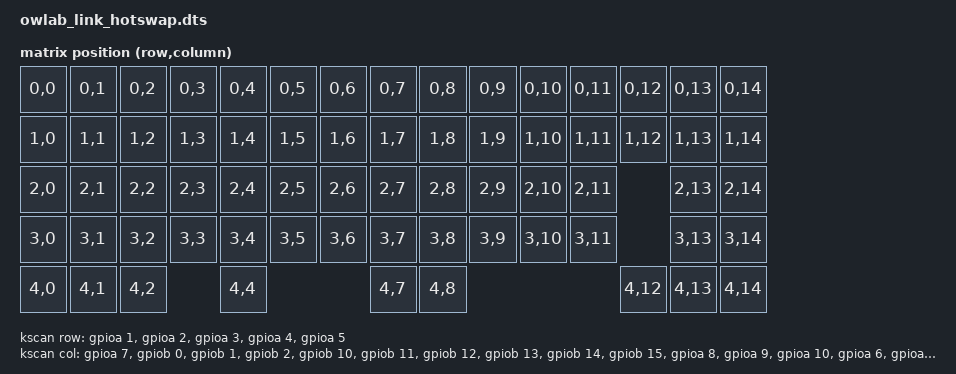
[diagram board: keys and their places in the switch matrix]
/*
 * Copyright (c) 2023 The ZMK Contributors
 * SPDX-License-Identifier: MIT
 */

/dts-v1/;

#include <st/f1/stm32f103X8.dtsi>
#include <st/f1/stm32f103c(8-b)tx-pinctrl.dtsi>

#include <dt-bindings/zmk/matrix_transform.h>

#include <layouts/common/65percent/ansi.dtsi>

/ {

    chosen {
        zephyr,sram = &sram0;
        zephyr,flash = &flash0;
        zmk,kscan = &kscan;
        zmk,physical-layout = &layout_65_ansi;
    };

        default_transform: keymap_transform_0 {
        compatible = "zmk,matrix-transform";
        columns = <15>;
        rows = <5>;

//  ------- Switch Matrix ----------
//
//  Column     0 |   1 |   2 |   3 |   4 |   5 |   6 |   7 |   8 |   9 |  10 |  11 |  12 |  13 |  14 |
//          ==========================================================================================
//  Row 0 ||  S0 |  S1 |  S2 |  S3 |  S4 |  S5 |  S6 |  S7 |  S8 |  S9 | S10 | S11 | S12 | S13 | S14 |
//  Row 1 ||  S0 |  S1 |  S2 |  S3 |  S4 |  S5 |  S6 |  S7 |  S8 |  S9 | S10 | S11 | S12 | S13 | S14 |
//  Row 2 ||  S0 |  S1 |  S2 |  S3 |  S4 |  S5 |  S6 |  S7 |  S8 |  S9 | S10 | S11 |     | S12 | S13 |
//  Row 3 ||  S0 |  S1 |  S2 |  S3 |  S4 |  S5 |  S6 |  S7 |  S8 |  S9 | S10 | S11 |     | S12 | S13 |
//  Row 4 ||  S0 |  S1 |  S2 |     |  S3 |     |     |  S4 |  S5 |     |     |     | S6  | S7  | S8  |
//     -----------------------------------------------------------------------------------
//
        map = <
        RC(0,0) RC(0,1) RC(0,2) RC(0,3) RC(0,4) RC(0,5) RC(0,6) RC(0,7) RC(0,8) RC(0,9) RC(0,10) RC(0,11) RC(0,12) RC(0,13) RC(0,14)
        RC(1,0) RC(1,1) RC(1,2) RC(1,3) RC(1,4) RC(1,5) RC(1,6) RC(1,7) RC(1,8) RC(1,9) RC(1,10) RC(1,11) RC(1,12) RC(1,13) RC(1,14)
        RC(2,0) RC(2,1) RC(2,2) RC(2,3) RC(2,4) RC(2,5) RC(2,6) RC(2,7) RC(2,8) RC(2,9) RC(2,10) RC(2,11)          RC(2,13) RC(2,14)
        RC(3,0) RC(3,1) RC(3,2) RC(3,3) RC(3,4) RC(3,5) RC(3,6) RC(3,7) RC(3,8) RC(3,9) RC(3,10) RC(3,11)          RC(3,13) RC(3,14)
        RC(4,0) RC(4,1) RC(4,2)         RC(4,4)                 RC(4,7) RC(4,8)                           RC(4,12) RC(4,13) RC(4,14)
        >;
    };

    kscan: kscan {
        compatible = "zmk,kscan-gpio-matrix";

        // Check here
        diode-direction = "row2col";

/*
 * "matrix_pins": {
 *     "cols": ["A7", "B0", "B1", "B2", "B10", "B11", "B12", "B13", "B14", "B15", "A8", "A9", "A10", "A6", "A15" ],
 *     "rows": ["A1", "A2", "A3", "A4", "A5" ]
 * }, 
 */

        col-gpios
            = <&gpioa 7  (GPIO_ACTIVE_HIGH | GPIO_PULL_DOWN)>
            , <&gpiob 0  (GPIO_ACTIVE_HIGH | GPIO_PULL_DOWN)>
            , <&gpiob 1  (GPIO_ACTIVE_HIGH | GPIO_PULL_DOWN)>
            , <&gpiob 2  (GPIO_ACTIVE_HIGH | GPIO_PULL_DOWN)>
            , <&gpiob 10 (GPIO_ACTIVE_HIGH | GPIO_PULL_DOWN)>
            , <&gpiob 11 (GPIO_ACTIVE_HIGH | GPIO_PULL_DOWN)>
            , <&gpiob 12 (GPIO_ACTIVE_HIGH | GPIO_PULL_DOWN)>
            , <&gpiob 13 (GPIO_ACTIVE_HIGH | GPIO_PULL_DOWN)>
            , <&gpiob 14 (GPIO_ACTIVE_HIGH | GPIO_PULL_DOWN)>
            , <&gpiob 15 (GPIO_ACTIVE_HIGH | GPIO_PULL_DOWN)>
            , <&gpioa 8  (GPIO_ACTIVE_HIGH | GPIO_PULL_DOWN)>
            , <&gpioa 9  (GPIO_ACTIVE_HIGH | GPIO_PULL_DOWN)>
            , <&gpioa 10 (GPIO_ACTIVE_HIGH | GPIO_PULL_DOWN)>
            , <&gpioa 6  (GPIO_ACTIVE_HIGH | GPIO_PULL_DOWN)>
            , <&gpioa 15 (GPIO_ACTIVE_HIGH | GPIO_PULL_DOWN)>
            ;
        row-gpios
            = <&gpioa 1  (GPIO_ACTIVE_HIGH | GPIO_PULL_DOWN)>
            , <&gpioa 2  (GPIO_ACTIVE_HIGH | GPIO_PULL_DOWN)>
            , <&gpioa 3  (GPIO_ACTIVE_HIGH | GPIO_PULL_DOWN)>
            , <&gpioa 4  (GPIO_ACTIVE_HIGH | GPIO_PULL_DOWN)>
            , <&gpioa 5  (GPIO_ACTIVE_HIGH | GPIO_PULL_DOWN)>
            ;
    };
};


&clk_hse {
    clock-frequency = <DT_FREQ_M(8)>;

    status = "okay";
};


&pll {
    mul = <9>;
    clocks = <&clk_hse>;

    status = "okay";
};


&rcc {
    clocks = <&pll>;
    ahb-prescaler = <1>;
    clock-frequency = <DT_FREQ_M(72)>;
    apb1-prescaler = <2>;
    apb2-prescaler = <1>;

    status = "okay";
};

&flash0 {
    partitions {
        compatible = "fixed-partitions";
        #address-cells = <1>;
        #size-cells    = <1>;

        /* 24 KiB resident DFU boot-loader */
        boot_partition: partition@0 {
            reg   = <0x00000000 0x00006000>;
        };

        /* Application code */
        app: partition@6000 {
            /* Size-out depends on the real device:      */
            /*   0xA000 for genuine 64 KiB F103C8/C6     */
            /*   0x1A000 for 128 KiB “Blue-pill” clones  */
            reg   = <0x00006000 0x0000A000>;
        };
    };
};

zephyr_udc0: &usb {
	pinctrl-0 = <&usb_dm_pa11 &usb_dp_pa12>;
	pinctrl-names = "default";
	status = "okay";
};

&layout_65_ansi {
    transform = <&default_transform>;
};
